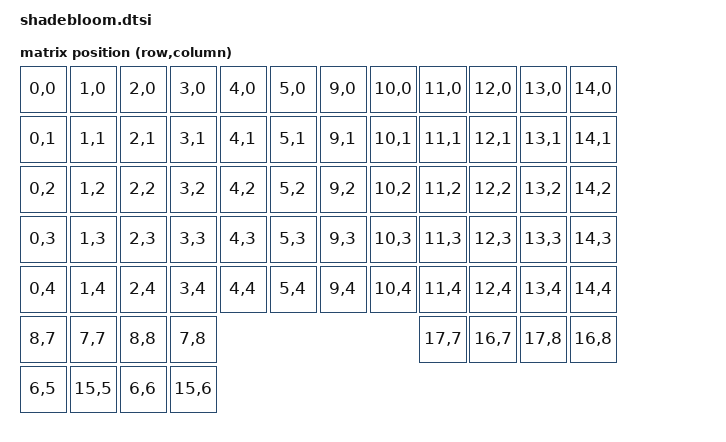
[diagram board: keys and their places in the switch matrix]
#include <dt-bindings/zmk/matrix_transform.h>
#include <physical_layouts.dtsi>

/ {
    chosen {
        zmk,kscan = &kscan0;
        zmk,physical-layout = &physical_layout0;
        //zmk,matrix-transform = &default_transform;
    };

    default_transform: keymap_transform0 {
        compatible = "zmk,matrix-transform";
        rows = <18>;
        columns = <9>;
        map = <
        //  |LKey 1  |LKey 2  |LKey 3  |LKey 4  |LKey 5  |LKey 6  |LKey 7  |LKey 8  |LKey 9  |LKey 10  |LKey 11  |LKey 12 

             RC(0,0)  RC(1,0)  RC(2,0)  RC(3,0)  RC(4,0)  RC(5,0)  RC(9,0)  RC(10,0)  RC(11,0)  RC(12,0)  RC(13,0)  RC(14,0)

             RC(0,1)  RC(1,1)  RC(2,1)  RC(3,1)  RC(4,1)  RC(5,1)  RC(9,1)  RC(10,1)  RC(11,1)  RC(12,1)  RC(13,1)  RC(14,1)

             RC(0,2)  RC(1,2)  RC(2,2)  RC(3,2)  RC(4,2)  RC(5,2)  RC(9,2)  RC(10,2)  RC(11,2)  RC(12,2)  RC(13,2)  RC(14,2)

             RC(0,3)  RC(1,3)  RC(2,3)  RC(3,3)  RC(4,3)  RC(5,3)  RC(9,3)  RC(10,3)  RC(11,3)  RC(12,3)  RC(13,3)  RC(14,3)

             RC(0,4)  RC(1,4)  RC(2,4)  RC(3,4)  RC(4,4)  RC(5,4)  RC(9,4)  RC(10,4)  RC(11,4)  RC(12,4)  RC(13,4)  RC(14,4)

             RC(8,7)  RC(7,7)  RC(8,8)  RC(7,8)                                       RC(17,7)  RC(16,7)  RC(17,8)  RC(16,8)

             RC(6, 5)   RC(15, 5)

             RC(6, 6)   RC(15, 6)

        >;
    };

    physical_layout0: physical_layout_0 { // Physical-layout to be chosen in the chosen node
        compatible = "zmk,physical-layout"; // Required
        display-name = "Default Layout"; // Required
        transform = <&default_transform>; // Required, Label of the matrix transform for this layout
        kscan = <&kscan0>; // Optional, Label of the kscan node
        
        keys  //                     w   h     x    y     rot    rx    ry
            = <&key_physical_attrs 100 100     0    0      0     0     0> // Row 1
            , <&key_physical_attrs 100 100   100    0      0     0     0>
            , <&key_physical_attrs 100 100   200    0      0     0     0>
            , <&key_physical_attrs 100 100   300    0      0     0     0>
            , <&key_physical_attrs 100 100   400    0      0     0     0>
            , <&key_physical_attrs 100 100   500    0      0     0     0>
            , <&key_physical_attrs 100 100   600    0      0     0     0>
            , <&key_physical_attrs 100 100   700    0      0     0     0>
            , <&key_physical_attrs 100 100   800    0      0     0     0>
            , <&key_physical_attrs 100 100   900    0      0     0     0>
            , <&key_physical_attrs 100 100  1000    0      0     0     0>
            , <&key_physical_attrs 100 100  1100    0      0     0     0>
            , <&key_physical_attrs 100 100     0  100      0     0     0> // Row 2
            , <&key_physical_attrs 100 100   100  100      0     0     0>
            , <&key_physical_attrs 100 100   200  100      0     0     0>
            , <&key_physical_attrs 100 100   300  100      0     0     0>
            , <&key_physical_attrs 100 100   400  100      0     0     0>
            , <&key_physical_attrs 100 100   500  100      0     0     0>
            , <&key_physical_attrs 100 100   600  100      0     0     0>
            , <&key_physical_attrs 100 100   700  100      0     0     0>
            , <&key_physical_attrs 100 100   800  100      0     0     0>
            , <&key_physical_attrs 100 100   900  100      0     0     0>
            , <&key_physical_attrs 100 100  1000  100      0     0     0>
            , <&key_physical_attrs 100 100  1100  100      0     0     0>
            , <&key_physical_attrs 100 100     0  200      0     0     0> // Row 3
            , <&key_physical_attrs 100 100   100  200      0     0     0>
            , <&key_physical_attrs 100 100   200  200      0     0     0>
            , <&key_physical_attrs 100 100   300  200      0     0     0>
            , <&key_physical_attrs 100 100   400  200      0     0     0>
            , <&key_physical_attrs 100 100   500  200      0     0     0>
            , <&key_physical_attrs 100 100   600  200      0     0     0>
            , <&key_physical_attrs 100 100   700  200      0     0     0>
            , <&key_physical_attrs 100 100   800  200      0     0     0>
            , <&key_physical_attrs 100 100   900  200      0     0     0>
            , <&key_physical_attrs 100 100  1000  200      0     0     0>
            , <&key_physical_attrs 100 100  1100  200      0     0     0>
            , <&key_physical_attrs 100 100     0  300      0     0     0> // Row 4
            , <&key_physical_attrs 100 100   100  300      0     0     0>
            , <&key_physical_attrs 100 100   200  300      0     0     0>
            , <&key_physical_attrs 100 100   300  300      0     0     0>
            , <&key_physical_attrs 100 100   400  300      0     0     0>
            , <&key_physical_attrs 100 100   500  300      0     0     0>
            , <&key_physical_attrs 100 100   600  300      0     0     0>
            , <&key_physical_attrs 100 100   700  300      0     0     0>
            , <&key_physical_attrs 100 100   800  300      0     0     0>
            , <&key_physical_attrs 100 100   900  300      0     0     0>
            , <&key_physical_attrs 100 100  1000  300      0     0     0>
            , <&key_physical_attrs 100 100  1100  300      0     0     0>
            , <&key_physical_attrs 100 100     0  400      0     0     0> // Row 5
            , <&key_physical_attrs 100 100   100  400      0     0     0>
            , <&key_physical_attrs 100 100   200  400      0     0     0>
            , <&key_physical_attrs 100 100   300  400      0     0     0>
            , <&key_physical_attrs 100 100   400  400      0     0     0>
            , <&key_physical_attrs 100 100   500  400      0     0     0>
            , <&key_physical_attrs 100 100   600  400      0     0     0>
            , <&key_physical_attrs 100 100   700  400      0     0     0>
            , <&key_physical_attrs 100 100   800  400      0     0     0>
            , <&key_physical_attrs 100 100   900  400      0     0     0>
            , <&key_physical_attrs 100 100  1000  400      0     0     0>
            , <&key_physical_attrs 100 100  1100  400      0     0     0>
            , <&key_physical_attrs 100 100     0  500      0     0     0> // Row 6
            , <&key_physical_attrs 100 100   100  500      0     0     0>
            , <&key_physical_attrs 100 100   200  500      0     0     0>
            , <&key_physical_attrs 100 100   300  500      0     0     0>
            , <&key_physical_attrs 100 100   800  500      0     0     0>
            , <&key_physical_attrs 100 100   900  500      0     0     0>
            , <&key_physical_attrs 100 100  1000  500      0     0     0>
            , <&key_physical_attrs 100 100  1100  500      0     0     0>
            , <&key_physical_attrs 100 100     0  600      0     0     0>
            , <&key_physical_attrs 100 100   100  600      0     0     0>
            , <&key_physical_attrs 100 100   200  600      0     0     0>
            , <&key_physical_attrs 100 100   300  600      0     0     0>
            ;
            
    };

    kscan0: kscan {
    
    };
};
